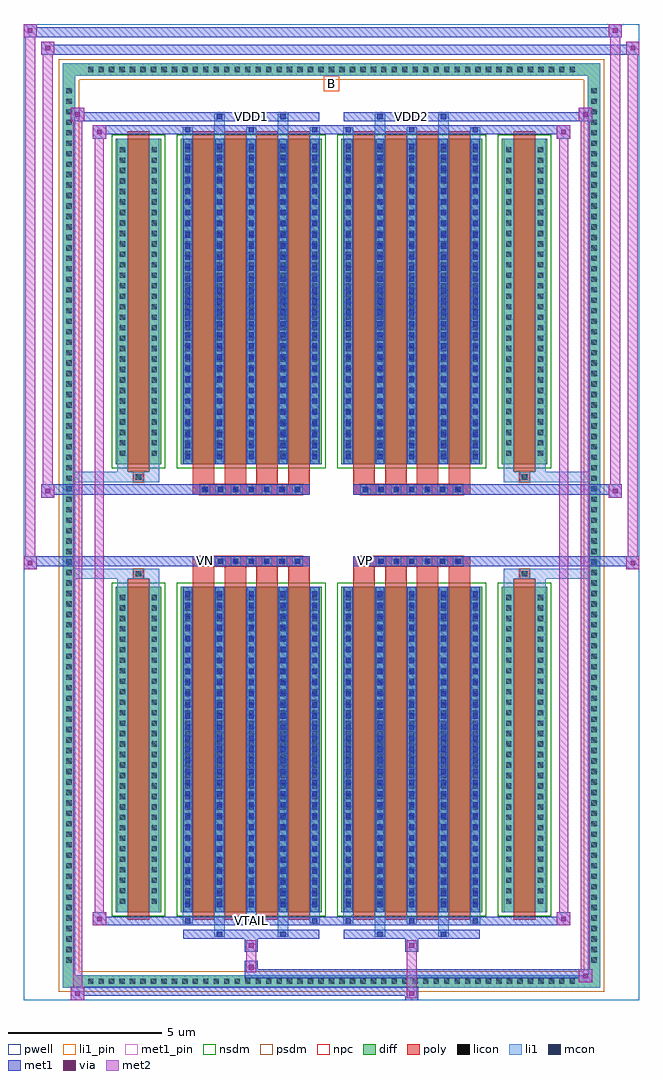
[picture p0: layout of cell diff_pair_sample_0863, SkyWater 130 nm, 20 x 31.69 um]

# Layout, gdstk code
import gdstk
lib = gdstk.Library(unit=1e-6, precision=5e-09)
def R(c, l, rs):  # rectangles x0, y0, x1, y1
    for r in rs: c.add(gdstk.rectangle(r[:2], r[2:], *l))
def A(c, l, x, y, w, h, nx, ny, dx, dy):  # array of equal rectangles
    R(c, l, [(x+i*dx, y+j*dy, x+i*dx+w, y+j*dy+h) for i in range(nx) for j in range(ny)])
def P(c, l, *ps):  # polygons
    for p in ps: c.add(gdstk.Polygon(p, *l))
pwell = (64, 44)
diff = (65, 20)
poly = (66, 20)
licon = (66, 44)
li1_pin = (67, 16)
li1 = (67, 20)
mcon = (67, 44)
met1_pin = (68, 16)
met1 = (68, 20)
via = (68, 44)
met2 = (69, 20)
nsdm = (93, 44)
psdm = (94, 20)
npc = (95, 20)

diff_pair_sample_0863 = lib.new_cell('diff_pair_sample_0863')
R(diff_pair_sample_0863, pwell, [(-10,-15.41,10,16.28), (-7.32,-13.6,-0.01,-0.8), (0.01,-13.6,7.32,-0.8), (-7.32,0.8,-0.01,13.6), (0.01,0.8,7.32,13.6)])
A(diff_pair_sample_0863, diff, -8.025, -15.01, 0.41, 0.41, 47, 2, 0.34, 29.61)
A(diff_pair_sample_0863, diff, -8.73, -14.315, 0.41, 0.41, 1, 84, 0, 0.34)
A(diff_pair_sample_0863, diff, 8.32, -14.315, 0.41, 0.41, 1, 84, 0, 0.34)
R(diff_pair_sample_0863, diff, [(-8.025,-15.01,8.025,-14.6), (-8.73,-14.315,-8.32,14.315), (8.32,-14.315,8.73,14.315), (-7.01,-12.555,-5.53,-1.985), (-4.89,-12.555,-0.32,-1.985), (0.32,-12.555,4.89,-1.985), (5.53,-12.555,7.01,-1.985), (-7.01,1.985,-5.53,12.555), (-4.89,1.985,-0.32,12.555), (0.32,1.985,4.89,12.555), (5.53,1.985,7.01,12.555), (-8.025,14.6,8.025,15.01)])
P(diff_pair_sample_0863, diff, [(8.73,15.01),(-8.73,15.01),(-8.73,-14.6),(-8.32,-14.6),(-8.32,14.6),(8.32,14.6),(8.32,-14.6),(-8.32,-14.6),(-8.73,-14.6),(-8.73,-15.01),(8.73,-15.01)])
A(diff_pair_sample_0863, poly, -4.5, -12.805, 0.7, 11.07, 4, 2, 1.03, 14.54)
A(diff_pair_sample_0863, poly, 0.71, -12.805, 0.7, 11.07, 4, 2, 1.03, 14.54)
A(diff_pair_sample_0863, poly, -4.5, -1.735, 0.7, 0.405, 4, 2, 1.03, 3.065)
A(diff_pair_sample_0863, poly, 0.71, -1.735, 0.7, 0.405, 4, 2, 1.03, 3.065)
A(diff_pair_sample_0863, poly, -4.27, -1.33, 0.33, 0.33, 7, 2, 0.5, 2.33)
A(diff_pair_sample_0863, poly, 0.94, -1.33, 0.33, 0.33, 7, 2, 0.5, 2.33)
R(diff_pair_sample_0863, poly, [(-6.62,-12.805,-5.92,-1.735), (5.92,-12.805,6.62,-1.735), (-6.435,-1.735,-6.105,-1.405), (-6.435,-1.735,-6.105,-1.405), (6.105,-1.735,6.435,-1.405), (6.105,-1.735,6.435,-1.405), (-4.5,-1.33,-0.71,-1), (0.71,-1.33,4.5,-1), (-4.5,1,-0.71,1.33), (0.71,1,4.5,1.33), (-6.435,1.405,-6.105,1.735), (-6.435,1.405,-6.105,1.735), (6.105,1.405,6.435,1.735), (6.105,1.405,6.435,1.735), (-6.62,1.735,-5.92,12.805), (5.92,1.735,6.62,12.805)])
A(diff_pair_sample_0863, licon, -7.905, -14.89, 0.17, 0.17, 47, 2, 0.34, 29.61)
A(diff_pair_sample_0863, licon, -8.61, -14.195, 0.17, 0.17, 1, 84, 0, 0.34)
A(diff_pair_sample_0863, licon, 8.44, -14.195, 0.17, 0.17, 1, 84, 0, 0.34)
A(diff_pair_sample_0863, licon, -6.87, -12.285, 0.17, 0.17, 1, 30, 0, 0.34)
A(diff_pair_sample_0863, licon, -5.84, -12.285, 0.17, 0.17, 1, 30, 0, 0.34)
A(diff_pair_sample_0863, licon, -4.75, -12.285, 0.17, 0.17, 5, 30, 1.03, 0.34)
A(diff_pair_sample_0863, licon, 0.46, -12.285, 0.17, 0.17, 5, 30, 1.03, 0.34)
A(diff_pair_sample_0863, licon, 5.67, -12.285, 0.17, 0.17, 1, 30, 0, 0.34)
A(diff_pair_sample_0863, licon, 6.7, -12.285, 0.17, 0.17, 1, 30, 0, 0.34)
A(diff_pair_sample_0863, licon, -4.19, -1.25, 0.17, 0.17, 7, 2, 0.5, 2.33)
A(diff_pair_sample_0863, licon, 1.02, -1.25, 0.17, 0.17, 7, 2, 0.5, 2.33)
A(diff_pair_sample_0863, licon, -6.87, 2.255, 0.17, 0.17, 1, 30, 0, 0.34)
A(diff_pair_sample_0863, licon, -5.84, 2.255, 0.17, 0.17, 1, 30, 0, 0.34)
A(diff_pair_sample_0863, licon, -4.75, 2.255, 0.17, 0.17, 5, 30, 1.03, 0.34)
A(diff_pair_sample_0863, licon, 0.46, 2.255, 0.17, 0.17, 5, 30, 1.03, 0.34)
A(diff_pair_sample_0863, licon, 5.67, 2.255, 0.17, 0.17, 1, 30, 0, 0.34)
A(diff_pair_sample_0863, licon, 6.7, 2.255, 0.17, 0.17, 1, 30, 0, 0.34)
R(diff_pair_sample_0863, licon, [(-6.355,-1.655,-6.185,-1.485), (6.185,-1.655,6.355,-1.485), (-6.355,1.485,-6.185,1.655), (6.185,1.485,6.355,1.655)])
R(diff_pair_sample_0863, li1_pin, [(-0.25,14.1,0.25,14.6)])
A(diff_pair_sample_0863, li1, -7.985, -14.97, 0.33, 0.33, 47, 2, 0.34, 29.61)
A(diff_pair_sample_0863, li1, -8.69, -14.275, 0.33, 0.33, 1, 84, 0, 0.34)
A(diff_pair_sample_0863, li1, 8.36, -14.275, 0.33, 0.33, 1, 84, 0, 0.34)
A(diff_pair_sample_0863, li1, -4.83, -12.93, 0.33, 0.375, 3, 2, 2.06, 25.485)
A(diff_pair_sample_0863, li1, -4.75, -12.93, 0.17, 0.17, 3, 2, 2.06, 25.69)
A(diff_pair_sample_0863, li1, 0.38, -12.93, 0.33, 0.375, 3, 2, 2.06, 25.485)
A(diff_pair_sample_0863, li1, 0.46, -12.93, 0.17, 0.17, 3, 2, 2.06, 25.69)
A(diff_pair_sample_0863, li1, -4.83, -12.555, 0.33, 10.57, 5, 2, 1.03, 14.54)
A(diff_pair_sample_0863, li1, 0.38, -12.555, 0.33, 10.57, 5, 2, 1.03, 14.54)
A(diff_pair_sample_0863, li1, -4.75, -12.395, 0.17, 0.17, 5, 29, 1.03, 0.36)
A(diff_pair_sample_0863, li1, -4.75, -12.395, 0.17, 10.25, 5, 2, 1.03, 14.54)
A(diff_pair_sample_0863, li1, 0.46, -12.395, 0.17, 0.17, 5, 29, 1.03, 0.36)
A(diff_pair_sample_0863, li1, 0.46, -12.395, 0.17, 10.25, 5, 2, 1.03, 14.54)
A(diff_pair_sample_0863, li1, -6.95, -12.365, 0.33, 0.33, 1, 30, 0, 0.34)
A(diff_pair_sample_0863, li1, -5.92, -12.365, 0.33, 0.33, 1, 30, 0, 0.34)
A(diff_pair_sample_0863, li1, -4.83, -12.365, 0.33, 0.33, 5, 30, 1.03, 0.34)
A(diff_pair_sample_0863, li1, 0.38, -12.365, 0.33, 0.33, 5, 30, 1.03, 0.34)
A(diff_pair_sample_0863, li1, 5.59, -12.365, 0.33, 0.33, 1, 30, 0, 0.34)
A(diff_pair_sample_0863, li1, 6.62, -12.365, 0.33, 0.33, 1, 30, 0, 0.34)
A(diff_pair_sample_0863, li1, -4.27, -1.33, 0.33, 0.33, 7, 2, 0.5, 2.33)
A(diff_pair_sample_0863, li1, 0.94, -1.33, 0.33, 0.33, 7, 2, 0.5, 2.33)
A(diff_pair_sample_0863, li1, -4.75, 2.145, 0.17, 0.17, 5, 29, 1.03, 0.36)
A(diff_pair_sample_0863, li1, 0.46, 2.145, 0.17, 0.17, 5, 29, 1.03, 0.36)
A(diff_pair_sample_0863, li1, -6.95, 2.175, 0.33, 0.33, 1, 30, 0, 0.34)
A(diff_pair_sample_0863, li1, -5.92, 2.175, 0.33, 0.33, 1, 30, 0, 0.34)
A(diff_pair_sample_0863, li1, -4.83, 2.175, 0.33, 0.33, 5, 30, 1.03, 0.34)
A(diff_pair_sample_0863, li1, 0.38, 2.175, 0.33, 0.33, 5, 30, 1.03, 0.34)
A(diff_pair_sample_0863, li1, 5.59, 2.175, 0.33, 0.33, 1, 30, 0, 0.34)
A(diff_pair_sample_0863, li1, 6.62, 2.175, 0.33, 0.33, 1, 30, 0, 0.34)
R(diff_pair_sample_0863, li1, [(-8.73,-15.01,-8.32,-14.6), (-8.73,-15.01,-8.32,-14.6), (-8.32,-15.01,8.32,-14.6), (8.32,-15.01,8.73,-14.6), (8.32,-15.01,8.73,-14.6), (-8.73,-14.6,-8.32,14.6), (8.32,-14.6,8.73,14.6), (-3.8,-13.36,-3.47,-12.555), (-3.72,-13.36,-3.55,-13.19), (-1.74,-13.36,-1.41,-12.555), (-1.66,-13.36,-1.49,-13.19), (1.41,-13.36,1.74,-12.555), (1.49,-13.36,1.66,-13.19), (3.47,-13.36,3.8,-12.555), (3.55,-13.36,3.72,-13.19), (-6.95,-12.555,-6.62,-1.985), (-5.92,-12.555,-5.59,-1.985), (5.59,-12.555,5.92,-1.985), (6.62,-12.555,6.95,-1.985), (-6.95,-1.985,-6.62,-1.405), (-5.92,-1.985,-5.59,-1.405), (5.59,-1.985,5.92,-1.405), (6.62,-1.985,6.95,-1.405), (-8.73,-1.735,-6.435,-1.405), (-6.95,-1.735,-6.435,-1.405), (-6.435,-1.735,-6.105,-1.405), (-6.105,-1.735,-5.59,-1.405), (5.59,-1.735,6.105,-1.405), (6.105,-1.735,6.435,-1.405), (6.105,-1.735,8.73,-1.405), (6.435,-1.735,6.95,-1.405), (-8.73,1.405,-6.435,1.735), (-6.95,1.405,-6.435,1.735), (-6.95,1.405,-6.62,1.985), (-6.435,1.405,-6.105,1.735), (-6.105,1.405,-5.59,1.735), (-5.92,1.405,-5.59,1.985), (5.59,1.405,6.105,1.735), (5.59,1.405,5.92,1.985), (6.105,1.405,6.435,1.735), (6.105,1.405,8.73,1.735), (6.435,1.405,6.95,1.735), (6.62,1.405,6.95,1.985), (-6.95,1.985,-6.62,12.555), (-5.92,1.985,-5.59,12.555), (5.59,1.985,5.92,12.555), (6.62,1.985,6.95,12.555), (-3.8,12.555,-3.47,13.36), (-1.74,12.555,-1.41,13.36), (1.41,12.555,1.74,13.36), (3.47,12.555,3.8,13.36), (-3.72,13.19,-3.55,13.36), (-1.66,13.19,-1.49,13.36), (1.49,13.19,1.66,13.36), (3.55,13.19,3.72,13.36), (-8.73,14.6,-8.32,15.01), (-8.73,14.6,-8.32,15.01), (-8.32,14.6,8.32,15.01), (8.32,14.6,8.73,15.01), (8.32,14.6,8.73,15.01)])
A(diff_pair_sample_0863, mcon, -4.75, -12.93, 0.17, 0.17, 3, 2, 2.06, 25.69)
A(diff_pair_sample_0863, mcon, 0.46, -12.93, 0.17, 0.17, 3, 2, 2.06, 25.69)
A(diff_pair_sample_0863, mcon, -4.75, -12.395, 0.17, 0.17, 5, 29, 1.03, 0.36)
A(diff_pair_sample_0863, mcon, 0.46, -12.395, 0.17, 0.17, 5, 29, 1.03, 0.36)
A(diff_pair_sample_0863, mcon, -4.19, -1.25, 0.17, 0.17, 7, 2, 0.5, 2.33)
A(diff_pair_sample_0863, mcon, 1.02, -1.25, 0.17, 0.17, 7, 2, 0.5, 2.33)
A(diff_pair_sample_0863, mcon, -4.75, 2.145, 0.17, 0.17, 5, 29, 1.03, 0.36)
A(diff_pair_sample_0863, mcon, 0.46, 2.145, 0.17, 0.17, 5, 29, 1.03, 0.36)
R(diff_pair_sample_0863, mcon, [(-3.72,-13.36,-3.55,-13.19), (-1.66,-13.36,-1.49,-13.19), (1.49,-13.36,1.66,-13.19), (3.55,-13.36,3.72,-13.19), (-3.72,13.19,-3.55,13.36), (-1.66,13.19,-1.49,13.36), (1.49,13.19,1.66,13.36), (3.55,13.19,3.72,13.36)])
R(diff_pair_sample_0863, met1_pin, [(-2.74,-12.97,-2.47,-12.7), (-4.24,-1.29,-3.97,-1.02), (0.97,-1.29,1.24,-1.02), (-2.74,13.15,-2.47,13.42), (2.47,13.15,2.74,13.42)])
A(diff_pair_sample_0863, met1, -4.81, -12.99, 0.29, 0.29, 3, 2, 2.06, 25.69)
A(diff_pair_sample_0863, met1, 0.4, -12.99, 0.29, 0.29, 3, 2, 2.06, 25.69)
A(diff_pair_sample_0863, met1, -4.81, -12.555, 0.29, 10.57, 5, 2, 1.03, 14.54)
A(diff_pair_sample_0863, met1, 0.4, -12.555, 0.29, 10.57, 5, 2, 1.03, 14.54)
A(diff_pair_sample_0863, met1, -4.81, -12.455, 0.29, 0.29, 5, 29, 1.03, 0.36)
A(diff_pair_sample_0863, met1, 0.4, -12.455, 0.29, 0.29, 5, 29, 1.03, 0.36)
A(diff_pair_sample_0863, met1, -4.25, -1.31, 0.29, 0.29, 7, 2, 0.5, 2.33)
A(diff_pair_sample_0863, met1, 0.96, -1.31, 0.29, 0.29, 7, 2, 0.5, 2.33)
A(diff_pair_sample_0863, met1, -4.81, 2.085, 0.29, 0.29, 5, 29, 1.03, 0.36)
A(diff_pair_sample_0863, met1, 0.4, 2.085, 0.29, 0.29, 5, 29, 1.03, 0.36)
R(diff_pair_sample_0863, met1, [(-8.46,-15.41,-8.03,-14.98), (2.39,-15.41,2.82,-14.98), (-8.46,-15.27,2.82,-14.98), (8.03,-14.84,8.46,-14.41), (-2.82,-14.7,8.46,-14.41), (-2.82,-14.56,-2.39,-14.13), (-2.82,-13.85,-2.39,-13.42), (2.39,-13.85,2.82,-13.42), (-4.81,-13.42,-0.4,-13.13), (-3.78,-13.42,-3.49,-13.13), (-1.72,-13.42,-1.43,-13.13), (0.4,-13.42,4.81,-13.13), (1.43,-13.42,1.72,-13.13), (3.49,-13.42,3.78,-13.13), (-7.75,-12.99,-7.32,-12.56), (-7.75,-12.99,-4.81,-12.7), (-4.81,-12.99,-0.4,-12.7), (-0.4,-12.99,0.4,-12.7), (0.4,-12.99,4.81,-12.7), (4.81,-12.99,7.75,-12.7), (7.32,-12.99,7.75,-12.56), (-10,-1.43,-9.57,-1), (9.57,-1.43,10,-1), (-10,-1.33,-0.71,-1), (-4.5,-1.33,-0.71,-1), (0.71,-1.33,4.5,-1), (0.71,-1.33,10,-1), (-9.43,0.9,-9,1.33), (9,0.9,9.43,1.33), (-9.43,1,-4.5,1.33), (-4.5,1,-0.71,1.33), (0.71,1,4.5,1.33), (4.5,1,9.43,1.33), (-7.75,12.56,-7.32,12.99), (7.32,12.56,7.75,12.99), (-7.75,12.7,-4.81,12.99), (-4.81,12.7,-0.4,12.99), (-0.4,12.7,0.4,12.99), (0.4,12.7,4.81,12.99), (4.81,12.7,7.75,12.99), (-8.46,13.13,-8.03,13.56), (-8.46,13.13,-4.81,13.42), (-4.81,13.13,-0.4,13.42), (-3.78,13.13,-3.49,13.42), (-1.72,13.13,-1.43,13.42), (0.4,13.13,4.81,13.42), (1.43,13.13,1.72,13.42), (3.49,13.13,3.78,13.42), (4.81,13.13,8.46,13.42), (8.03,13.13,8.46,13.56), (-9.43,15.28,-9,15.71), (-9.43,15.28,-7.32,15.61), (-7.32,15.28,7.32,15.61), (7.32,15.28,10,15.61), (9.57,15.28,10,15.71), (-10,15.85,-9.57,16.28), (-10,15.85,-7.32,16.18), (-7.32,15.85,7.32,16.18), (7.32,15.85,9.43,16.18), (9,15.85,9.43,16.28)])
R(diff_pair_sample_0863, via, [(-8.32,-15.27,-8.17,-15.12), (2.53,-15.27,2.68,-15.12), (8.17,-14.7,8.32,-14.55), (-2.68,-14.42,-2.53,-14.27), (-2.68,-13.71,-2.53,-13.56), (2.53,-13.71,2.68,-13.56), (-7.61,-12.85,-7.46,-12.7), (7.46,-12.85,7.61,-12.7), (-9.86,-1.29,-9.71,-1.14), (9.71,-1.29,9.86,-1.14), (-9.29,1.04,-9.14,1.19), (9.14,1.04,9.29,1.19), (-7.61,12.7,-7.46,12.85), (7.46,12.7,7.61,12.85), (-8.32,13.27,-8.17,13.42), (8.17,13.27,8.32,13.42), (-9.29,15.42,-9.14,15.57), (9.71,15.42,9.86,15.57), (-9.86,15.99,-9.71,16.14), (9.14,15.99,9.29,16.14)])
R(diff_pair_sample_0863, met2, [(-8.46,-15.41,-8.03,-14.98), (-8.39,-15.41,-8.1,13.56), (-8.1,-15.41,-8.03,-14.98), (-8.41,-15.36,-8.08,-15.03), (2.44,-15.36,2.77,-15.03), (2.44,-15.03,2.77,-13.8), (8.03,-14.84,8.46,-14.41), (8.1,-14.84,8.39,13.56), (8.39,-14.84,8.46,-14.41), (8.08,-14.79,8.41,-14.46), (-2.77,-14.51,-2.44,-14.18), (-2.77,-14.18,-2.44,-13.8), (-2.77,-13.8,-2.44,-13.47), (2.44,-13.8,2.77,-13.47), (-7.75,-12.99,-7.32,-12.56), (-7.68,-12.99,-7.39,12.99), (-7.39,-12.99,-7.32,-12.56), (7.32,-12.99,7.75,-12.56), (7.39,-12.99,7.68,12.99), (7.68,-12.99,7.75,-12.56), (-7.7,-12.94,-7.37,-12.61), (7.37,-12.94,7.7,-12.61), (-10,-1.43,-9.57,-1), (-9.95,-1.43,-9.62,16.28), (-9.62,-1.43,-9.57,-1), (9.57,-1.43,10,-1), (9.62,-1.43,9.95,15.71), (9.95,-1.43,10,-1), (-9.95,-1.38,-9.62,-1.05), (9.62,-1.38,9.95,-1.05), (-9.43,0.9,-9,1.33), (-9.38,0.9,-9.05,15.71), (-9.05,0.9,-9,1.33), (9,0.9,9.43,1.33), (9.05,0.9,9.38,16.28), (9.38,0.9,9.43,1.33), (-9.38,0.95,-9.05,1.28), (9.05,0.95,9.38,1.28), (-7.75,12.56,-7.32,12.99), (-7.39,12.56,-7.32,12.99), (7.32,12.56,7.75,12.99), (7.68,12.56,7.75,12.99), (-7.7,12.61,-7.37,12.94), (7.37,12.61,7.7,12.94), (-8.46,13.13,-8.03,13.56), (-8.1,13.13,-8.03,13.56), (8.03,13.13,8.46,13.56), (8.39,13.13,8.46,13.56), (-8.41,13.18,-8.08,13.51), (8.08,13.18,8.41,13.51), (-9.43,15.28,-9,15.71), (-9.05,15.28,-9,15.71), (9.57,15.28,10,15.71), (9.95,15.28,10,15.71), (-9.38,15.33,-9.05,15.66), (9.62,15.33,9.95,15.66), (-10,15.85,-9.57,16.28), (-9.62,15.85,-9.57,16.28), (9,15.85,9.43,16.28), (9.38,15.85,9.43,16.28), (-9.95,15.9,-9.62,16.23), (9.05,15.9,9.38,16.23)])
R(diff_pair_sample_0863, nsdm, [(-7.14,-12.685,-5.4,-1.855), (-5.02,-12.685,-0.19,-1.855), (0.19,-12.685,5.02,-1.855), (5.4,-12.685,7.14,-1.855), (-7.14,1.855,-5.4,12.685), (-5.02,1.855,-0.19,12.685), (0.19,1.855,5.02,12.685), (5.4,1.855,7.14,12.685)])
P(diff_pair_sample_0863, psdm, [(8.86,15.14),(-8.86,15.14),(-8.86,-14.47),(-8.19,-14.47),(-8.19,14.47),(8.19,14.47),(8.19,-14.47),(-8.19,-14.47),(-8.86,-14.47),(-8.86,-15.14),(8.86,-15.14)])
A(diff_pair_sample_0863, npc, -4.29, -1.35, 0.37, 0.37, 7, 2, 0.5, 2.33)
A(diff_pair_sample_0863, npc, 0.92, -1.35, 0.37, 0.37, 7, 2, 0.5, 2.33)
R(diff_pair_sample_0863, npc, [(-6.455,-1.755,-6.085,-1.385), (6.085,-1.755,6.455,-1.385), (-4.29,-1.35,-3.42,-0.98), (-4.29,-1.35,-3.42,-0.98), (-3.79,-1.35,-2.92,-0.98), (-3.79,-1.35,-2.92,-0.98), (-3.29,-1.35,-2.42,-0.98), (-3.29,-1.35,-2.42,-0.98), (-2.79,-1.35,-1.92,-0.98), (-2.79,-1.35,-1.92,-0.98), (-2.29,-1.35,-1.42,-0.98), (-2.29,-1.35,-1.42,-0.98), (-1.79,-1.35,-0.92,-0.98), (-1.79,-1.35,-0.92,-0.98), (0.92,-1.35,1.79,-0.98), (0.92,-1.35,1.79,-0.98), (1.42,-1.35,2.29,-0.98), (1.42,-1.35,2.29,-0.98), (1.92,-1.35,2.79,-0.98), (1.92,-1.35,2.79,-0.98), (2.42,-1.35,3.29,-0.98), (2.42,-1.35,3.29,-0.98), (2.92,-1.35,3.79,-0.98), (2.92,-1.35,3.79,-0.98), (3.42,-1.35,4.29,-0.98), (3.42,-1.35,4.29,-0.98), (-4.29,0.98,-3.42,1.35), (-4.29,0.98,-3.42,1.35), (-3.79,0.98,-2.92,1.35), (-3.79,0.98,-2.92,1.35), (-3.29,0.98,-2.42,1.35), (-3.29,0.98,-2.42,1.35), (-2.79,0.98,-1.92,1.35), (-2.79,0.98,-1.92,1.35), (-2.29,0.98,-1.42,1.35), (-2.29,0.98,-1.42,1.35), (-1.79,0.98,-0.92,1.35), (-1.79,0.98,-0.92,1.35), (0.92,0.98,1.79,1.35), (0.92,0.98,1.79,1.35), (1.42,0.98,2.29,1.35), (1.42,0.98,2.29,1.35), (1.92,0.98,2.79,1.35), (1.92,0.98,2.79,1.35), (2.42,0.98,3.29,1.35), (2.42,0.98,3.29,1.35), (2.92,0.98,3.79,1.35), (2.92,0.98,3.79,1.35), (3.42,0.98,4.29,1.35), (3.42,0.98,4.29,1.35), (-6.455,1.385,-6.085,1.755), (6.085,1.385,6.455,1.755)])
diff_pair_sample_0863.add(gdstk.Label('VTAIL', (-2.605,-12.835), layer=68, texttype=5))
diff_pair_sample_0863.add(gdstk.Label('VN', (-4.105,-1.155), layer=68, texttype=5))
diff_pair_sample_0863.add(gdstk.Label('VP', (1.105,-1.155), layer=68, texttype=5))
diff_pair_sample_0863.add(gdstk.Label('B', (0,14.35), layer=67, texttype=5))
diff_pair_sample_0863.add(gdstk.Label('VDD2', (2.605,13.285), layer=68, texttype=5))
diff_pair_sample_0863.add(gdstk.Label('VDD1', (-2.605,13.285), layer=68, texttype=5))

lib.write_gds('diff_pair_sample_0863.gds')
